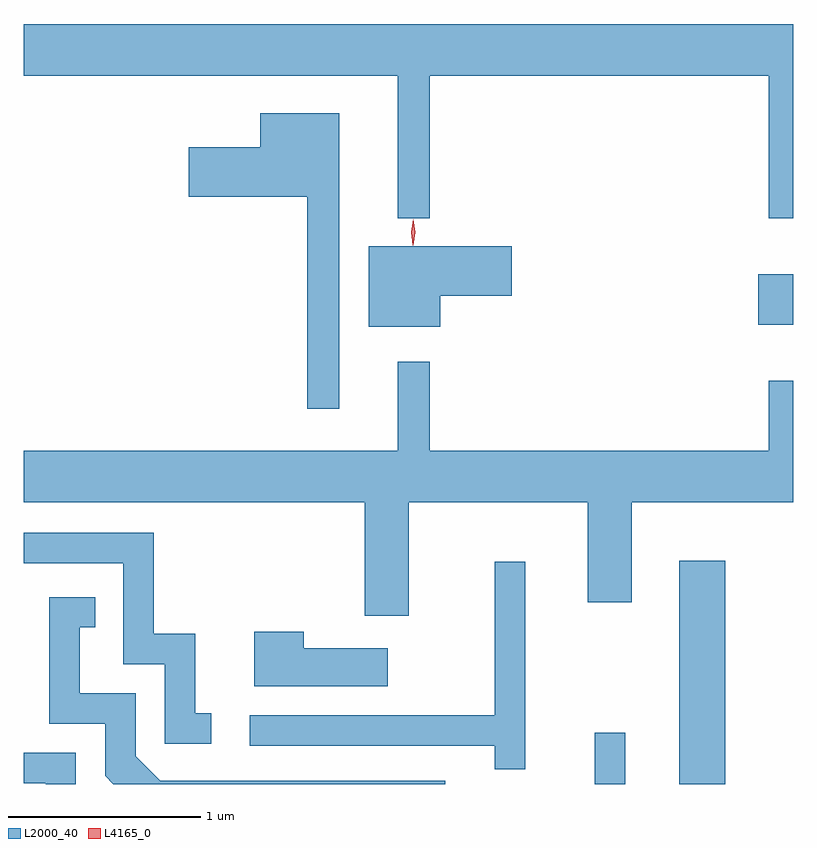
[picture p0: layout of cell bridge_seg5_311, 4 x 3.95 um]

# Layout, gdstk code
import gdstk
lib = gdstk.Library(unit=1e-6, precision=1e-09)
def R(c, l, rs):  # rectangles x0, y0, x1, y1
    for r in rs: c.add(gdstk.rectangle(r[:2], r[2:], *l))
def P(c, l, *ps):  # polygons
    for p in ps: c.add(gdstk.Polygon(p, *l))
L2000_40 = (2000, 40)
L4165_0 = (4165, 0)

bridge_seg5_311 = lib.new_cell('bridge_seg5_311')
R(bridge_seg5_311, L2000_40, [(701.366,1444.232,701.524,1444.498), (701.806,1444.232,702.044,1445.394), (702.216,1446.621,702.398,1446.884)])
P(bridge_seg5_311, L2000_40, [(700.509,1447.916),(702.271,1447.916),(702.271,1447.173),(702.398,1447.173),(702.398,1448.184),(698.398,1448.184),(698.398,1447.916),(700.341,1447.916),(700.341,1447.173),(700.509,1447.173)],
  [(700.039,1447.719),(699.626,1447.719),(699.626,1447.544),(699.256,1447.544),(699.256,1447.286),(699.871,1447.286),(699.871,1446.183),(700.039,1446.183)],
  [(700.564,1446.771),(700.934,1446.771),(700.934,1447.029),(700.191,1447.029),(700.191,1446.611),(700.564,1446.611)],
  [(700.399,1445.696),(701.331,1445.696),(701.331,1445.176),(701.559,1445.176),(701.559,1445.696),(702.398,1445.696),(702.398,1446.328),(702.271,1446.328),(702.271,1445.964),(700.509,1445.964),(700.509,1446.428),(700.341,1446.428),(700.341,1445.964),(698.398,1445.964),(698.398,1445.696),(700.171,1445.696),(700.171,1445.106),(700.399,1445.106)],
  [(699.373,1444.599),(699.289,1444.599),(699.289,1445.014),(699.074,1445.014),(699.074,1445.539),(698.398,1445.539),(698.398,1445.381),(698.916,1445.381),(698.916,1444.856),(699.131,1444.856),(699.131,1444.441),(699.373,1444.441)],
  [(701.004,1445.388),(700.846,1445.388),(700.846,1444.589),(699.573,1444.589),(699.573,1444.431),(700.846,1444.431),(700.846,1444.308),(701.004,1444.308)],
  [(700.589,1444.249),(699.107,1444.249),(698.979,1444.377),(698.979,1444.704),(698.689,1444.704),(698.689,1445.046),(698.768,1445.046),(698.768,1445.204),(698.531,1445.204),(698.531,1444.546),(698.821,1444.546),(698.821,1444.274),(698.863,1444.232),(700.589,1444.232)],
  [(700.289,1444.939),(699.854,1444.939),(699.854,1445.024),(699.596,1445.024),(699.596,1444.741),(700.289,1444.741)],
  [(698.669,1444.394),(698.398,1444.394),(698.398,1444.236),(698.511,1444.236),(698.511,1444.232),(698.669,1444.232)])
P(bridge_seg5_311, L4165_0, [(700.421,1447.034),(700.421,1447.034),(700.412,1447.102),(700.422,1447.17),(700.423,1447.17),(700.423,1447.17),(700.432,1447.102),(700.422,1447.034)],
  [(700.421,1447.04),(700.42,1447.041),(700.412,1447.104),(700.422,1447.166),(700.423,1447.167),(700.423,1447.166),(700.432,1447.103),(700.422,1447.041)])

lib.write_gds('bridge_seg5_311.gds')
